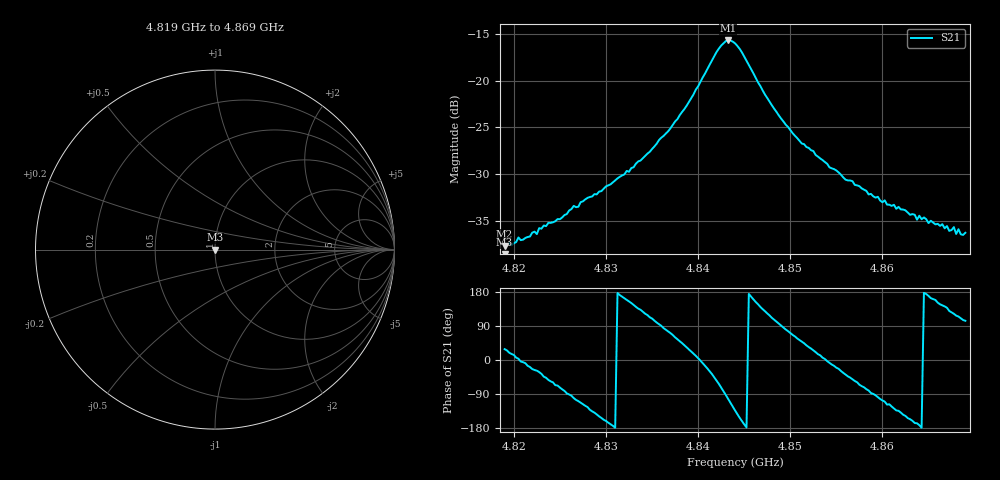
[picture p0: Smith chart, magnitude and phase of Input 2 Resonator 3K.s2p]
!Agilent Technologies,N5230A,MY45001652,A.07.50.57
!Agilent N5230A: A.07.50.57
!Date: Monday, September 28, 2015 13:32:15
!Correction: S11(Off)
!S21(Off)
!S12(Off)
!S22(Off)
!S2P File: Measurements: S11, S21, S12, S22:
# Hz S  dB  R 50
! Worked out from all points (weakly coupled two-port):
!   201 points, 4.819 GHz to 4.869 GHz, reference 50 ohm
!   highest |S21| = -15.68 dB at 4.8433 GHz (marker M1); lowest = -37.7 dB at 4.819 GHz (marker M2)
!   lowest |S11| = - dB at 4.819 GHz (marker M3), VSWR 1.00, Z = 50 + j7.07e-09 ohm
!   |S11| at or under -10 dB: start of sweep to end of sweep
!   S12 and S22 are empty: the file has one direction only
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4.819e9  -200.00 45.0  -37.73 28.6  -200.00 45.0  -200.00 45.0
4.8225e9  -200.00 45.0  -36.43 -28.2  -200.00 45.0  -200.00 45.0
4.8275e9  -200.00 45.0  -32.92 -116.6  -200.00 45.0  -200.00 45.0
4.8325e9  -200.00 45.0  -29.75 154.3  -200.00 45.0  -200.00 45.0
4.83575e9  -200.00 45.0  -26.36 94.4  -200.00 45.0  -200.00 45.0
4.839e9  -200.00 45.0  -22.27 28.3  -200.00 45.0  -200.00 45.0
4.841e9  -200.00 45.0  -18.73 -22.3  -200.00 45.0  -200.00 45.0
4.842e9  -200.00 45.0  -16.91 -54.2  -200.00 45.0  -200.00 45.0
4.84325e9  -200.00 45.0  -15.68 -102.5  -200.00 45.0  -200.00 45.0
4.844e9  -200.00 45.0  -15.98 -132.9  -200.00 45.0  -200.00 45.0
4.845e9  -200.00 45.0  -17.40 -169.8  -200.00 45.0  -200.00 45.0
4.84675e9  -200.00 45.0  -20.56 140.1  -200.00 45.0  -200.00 45.0
4.85025e9  -200.00 45.0  -25.61 66.3  -200.00 45.0  -200.00 45.0
4.8525e9  -200.00 45.0  -27.53 25.6  -200.00 45.0  -200.00 45.0
4.856e9  -200.00 45.0  -30.60 -38.4  -200.00 45.0  -200.00 45.0
4.86075e9  -200.00 45.0  -33.28 -116.8  -200.00 45.0  -200.00 45.0
4.86375e9  -200.00 45.0  -34.88 -167.1  -200.00 45.0  -200.00 45.0
4.864e9  -200.00 45.0  -34.47 -171.9  -200.00 45.0  -200.00 45.0
4.86725e9  -200.00 45.0  -36.09 129.4  -200.00 45.0  -200.00 45.0
4.86775e9  -200.00 45.0  -35.68 122.0  -200.00 45.0  -200.00 45.0
4.868e9  -200.00 45.0  -36.42 117.2  -200.00 45.0  -200.00 45.0
4.869e9  -200.00 45.0  -36.29 103.5  -200.00 45.0  -200.00 45.0
